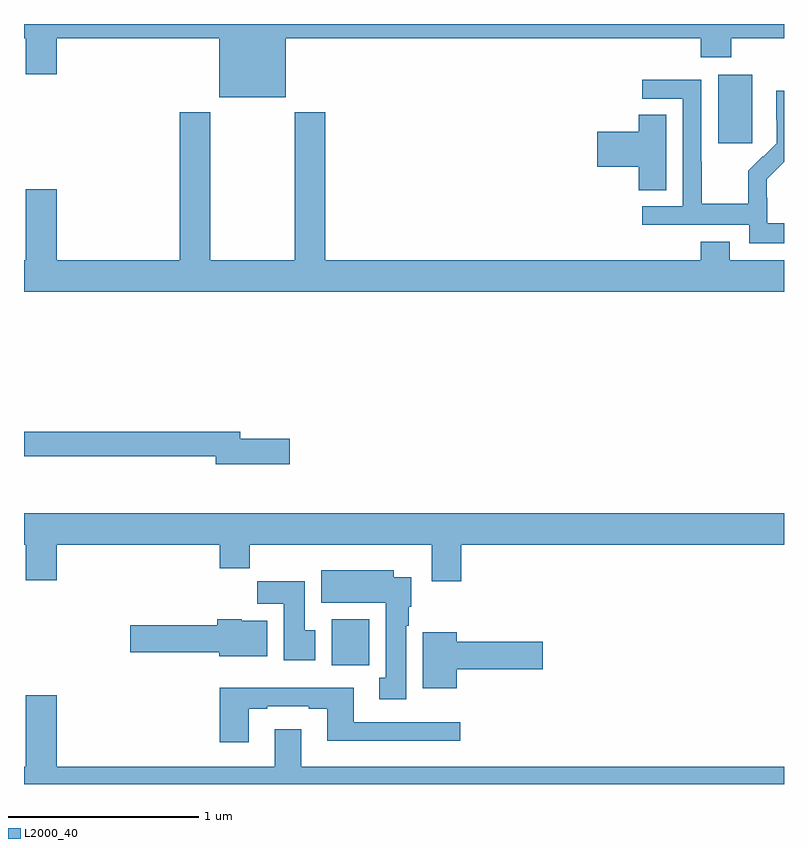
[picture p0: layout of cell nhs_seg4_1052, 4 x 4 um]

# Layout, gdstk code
import gdstk
lib = gdstk.Library(unit=1e-6, precision=1e-09)
def R(c, l, rs):  # rectangles x0, y0, x1, y1
    for r in rs: c.add(gdstk.rectangle(r[:2], r[2:], *l))
def P(c, l, *ps):  # polygons
    for p in ps: c.add(gdstk.Polygon(p, *l))
L2000_40 = (2000, 40)

nhs_seg4_1052 = lib.new_cell('nhs_seg4_1052')
R(nhs_seg4_1052, L2000_40, [(166.619,789.524,166.816,789.766), (168.653,792.273,168.832,792.634)])
P(nhs_seg4_1052, L2000_40, [(166.378,792.824),(168.563,792.824),(168.563,792.725),(168.723,792.725),(168.723,792.824),(169,792.824),(169,792.9),(165,792.9),(165,792.824),(165.008,792.824),(165.008,792.636),(165.172,792.636),(165.172,792.824),(166.028,792.824),(166.028,792.515),(166.378,792.515)],
  [(169,791.851),(168.912,791.851),(168.912,791.985),(168.91,791.985),(168.91,792.082),(168.984,792.156),(168.983,792.157),(169,792.174),(169,792.548),(168.96,792.548),(168.96,792.394),(168.962,792.394),(168.962,792.272),(168.891,792.201),(168.888,792.204),(168.811,792.127),(168.811,791.953),(168.567,791.953),(168.567,792.176),(168.564,792.176),(168.564,792.606),(168.255,792.606),(168.255,792.507),(168.468,792.507),(168.468,791.94),(168.255,791.94),(168.255,791.844),(168.816,791.844),(168.816,791.747),(169,791.747)],
  [(169,791.656),(168.715,791.656),(168.715,791.755),(168.563,791.755),(168.563,791.656),(166.586,791.656),(166.586,792.436),(166.426,792.436),(166.426,791.656),(165.981,791.656),(165.981,792.436),(165.821,792.436),(165.821,791.656),(165.172,791.656),(165.172,792.031),(165.008,792.031),(165.008,791.656),(165,791.656),(165,791.492),(169,791.492)],
  [(168.379,792.422),(168.236,792.422),(168.236,792.332),(168.018,792.332),(168.018,792.149),(168.236,792.149),(168.236,792.025),(168.379,792.025)],
  [(166.399,790.718),(166.138,790.718),(166.138,790.754),(165,790.754),(165,790.626),(166.01,790.626),(166.01,790.583),(166.399,790.583)],
  [(165,790.16),(165.008,790.16),(165.008,789.972),(165.172,789.972),(165.172,790.16),(166.031,790.16),(166.031,790.036),(166.187,790.036),(166.187,790.16),(167.147,790.16),(167.147,789.966),(167.3,789.966),(167.3,790.16),(169,790.16),(169,790.324),(165,790.324)],
  [(167.011,789.734),(167.026,789.734),(167.026,789.834),(167.038,789.834),(167.038,789.988),(166.945,789.988),(166.945,790.024),(166.565,790.024),(166.565,789.854),(166.904,789.854),(166.904,789.458),(166.871,789.458),(166.871,789.345),(167.011,789.345)],
  [(166.534,789.708),(166.477,789.708),(166.477,789.966),(166.228,789.966),(166.228,789.848),(166.367,789.848),(166.367,789.552),(166.534,789.552)],
  [(166.279,789.76),(166.146,789.76),(166.146,789.766),(166.016,789.766),(166.016,789.735),(165.558,789.735),(165.558,789.593),(166.028,789.593),(166.028,789.572),(166.279,789.572)],
  [(167.278,789.503),(167.731,789.503),(167.731,789.65),(167.278,789.65),(167.278,789.7),(167.099,789.7),(167.099,789.404),(167.278,789.404)],
  [(166.183,789.297),(166.279,789.297),(166.279,789.309),(166.499,789.309),(166.499,789.297),(166.595,789.297),(166.595,789.128),(167.296,789.128),(167.296,789.225),(166.735,789.225),(166.735,789.406),(166.031,789.406),(166.031,789.12),(166.183,789.12)],
  [(169,788.992),(166.459,788.992),(166.459,789.187),(166.319,789.187),(166.319,788.992),(165.172,788.992),(165.172,789.367),(165.008,789.367),(165.008,788.992),(165,788.992),(165,788.9),(169,788.9)])

lib.write_gds('nhs_seg4_1052.gds')
